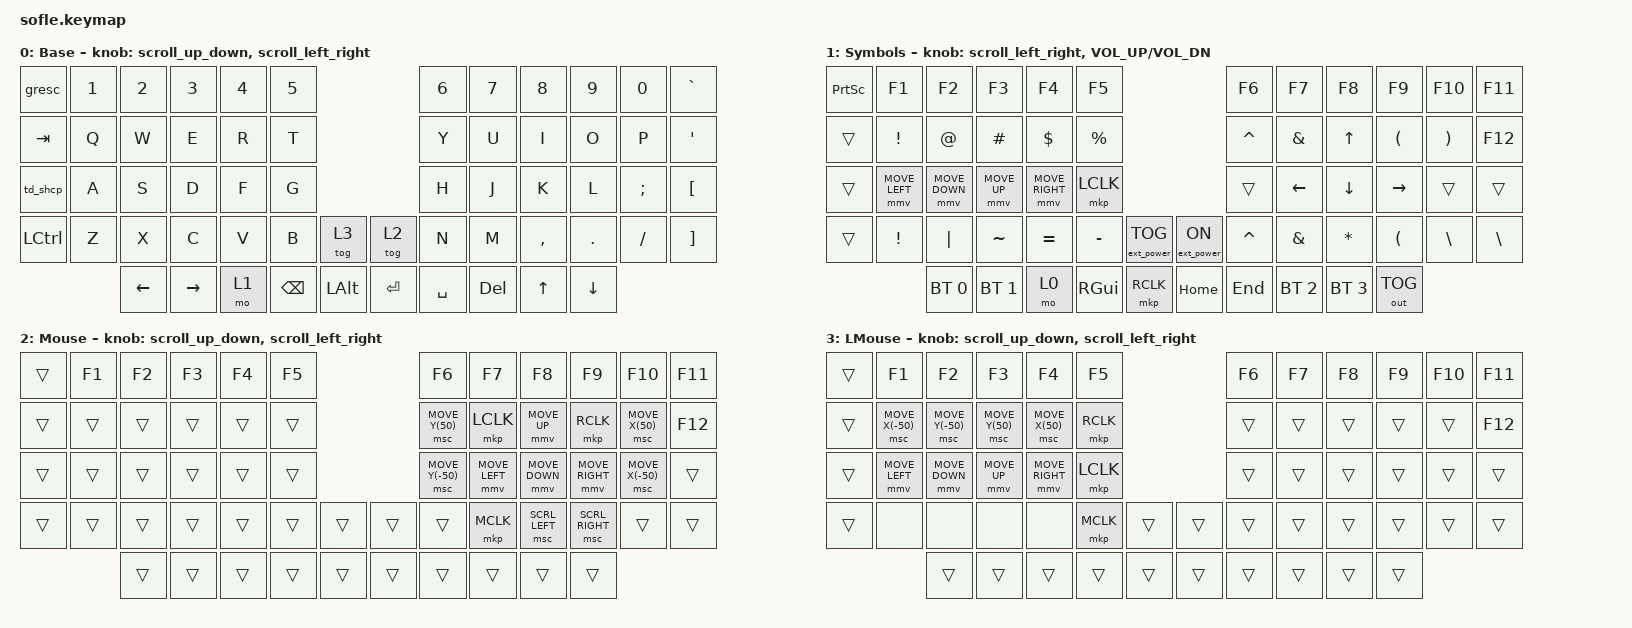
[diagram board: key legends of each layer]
/*
 * Copyright (c) 2020 The ZMK Contributors
 *
 * SPDX-License-Identifier: MIT
 */
/*
 * Temporarily here because nice nano v2 spi is not defined on ZMK Yet
 * Source: https://github.com/zmkfirmware/zmk/blob/main/app/boards/shields/reviung41/boards/nice_nano.overlay
 * GitHub Issue: https://github.com/zmkfirmware/zmk/issues/885
 */

#define ZMK_POINTING_DEFAULT_MOVE_VAL 800  // default: 600
#define ZMK_POINTING_DEFAULT_SCRL_VAL 1200
#define DISPLAY_INIT_PRIORITY 95
#define ZMK_MOUSE_SCRL_VAL 100

#include <dt-bindings/zmk/mouse.h>
#include <behaviors.dtsi>
#include <dt-bindings/zmk/bt.h>
#include <dt-bindings/zmk/ext_power.h>
#include <dt-bindings/zmk/keys.h>
#include <dt-bindings/zmk/outputs.h>
#include <dt-bindings/zmk/pointing.h>

// Temporary comment out to test power consumption
// &pinctrl {
//     spi3_default: spi3_default {
//         group1 { psels = <NRF_PSEL(SPIM_MOSI, 0, 6)>; };
//     };
//     spi3_sleep: spi3_sleep {
//         group1 {
//             psels = <NRF_PSEL(SPIM_MOSI, 0, 6)>;
//             low-power-enable;
//         };
//     };
// };

&msc {
    x-input-code = <INPUT_REL_HWHEEL>;
    y-input-code = <INPUT_REL_WHEEL>;
    time-to-max-speed-ms = <200>;
    acceleration-exponent = <1>;
};

/ {
    behaviors {
        scroll_up_down: behavior_sensor_rotate_mouse_wheel_up_down {
            compatible = "zmk,behavior-sensor-rotate";
            #sensor-binding-cells = <0>;
            bindings = <&msc SCRL_DOWN>, <&msc SCRL_UP>;

            tap-ms = <20>;
        };

        scroll_left_right: behavior_sensor_rotate_mouse_wheel_left_right {
            compatible = "zmk,behavior-sensor-rotate";
            #sensor-binding-cells = <0>;
            bindings = <&msc SCRL_RIGHT>, <&msc SCRL_LEFT>;

            tap-ms = <20>;
        };

        td_shcp: tap_dance_shift_caps {
            compatible = "zmk,behavior-tap-dance";
            #binding-cells = <0>;

            //tapping-term-ms = <200>;

            bindings = <&kp LSHIFT>, <&caps_word>;
        };
    };

    combos {
        compatible = "zmk,combos";

        ToggleNavi1 {
            bindings = <&tog 2>;
            key-positions = <52 57>;
        };

        ToggleNavi {
            bindings = <&tog 2>;
            key-positions = <48 49>;
        };

        Bluetooth-Reparing {
            bindings = <&bt BT_CLR>;
            key-positions = <42 43>;
            layers = <1>;
        };
    };

    keymap {
        compatible = "zmk,keymap";

        default_layer {
            display-name = "Base";

            // -----------------------------------------------------------------------------------------------------------
            // |Gr ESC |  1  |  2  |  3   |  4   |  5   |                   |  6   |  7    |  8    |  9   |   0   | GRAVE |
            // |  TAB  |  Q  |  W  |  E   |  R   |  T   |                   |  Y   |  U    |  I    |  O   |   P   |   '   |
            // |TdSHIFT|  A  |  S  |  D   |  F   |  G   |________    _______|  H   |  J    |  K    |  L   |   ;   |   [   |
            // | CTRL  |  Z  |  X  |  C   |  V   |  B   |  MUTE  |  |Tog Nav|  N   |  M    |  ,    |  .   |   /   |   ]   |
            //               | LEFT| RIGHT| LOWER| BSCP |  L ALT |  | ENTER | SPACE|  DEL  |  UP   | DOWN |
            // -----------------------------------------------------------------------------------------------------------

            bindings = <
&gresc     &kp N1  &kp N2    &kp N3     &kp N4  &kp N5                               &kp N6     &kp N7   &kp N8     &kp N9    &kp N0    &kp GRAVE
&kp TAB    &kp Q   &kp W     &kp E      &kp R   &kp T                                &kp Y      &kp U    &kp I      &kp O     &kp P     &kp SQT
&td_shcp   &kp A   &kp S     &kp D      &kp F   &kp G                                &kp H      &kp J    &kp K      &kp L     &kp SEMI  &kp LBKT
&kp LCTRL  &kp Z   &kp X     &kp C      &kp V   &kp B     &tog 3          &tog 2     &kp N      &kp M    &kp COMMA  &kp DOT   &kp FSLH  &kp RBKT
                   &kp LEFT  &kp RIGHT  &mo 1   &kp BSPC  &kp LEFT_ALT    &kp ENTER  &kp SPACE  &kp DEL  &kp UP     &kp DOWN
            >;

            sensor-bindings = <&scroll_up_down>, <&scroll_left_right>;
        };

        lower_layer {
            display-name = "Symbols";

            // ------------------------------------------------------------------------------------------------------------
            // | Print |  F1 |  F2  |  F3  |  F4  |  F5  |                   |  F6  |  F7   |  F8   |  F9  |  F10  |  F11  |
            // |       |  !  |  @   |  #   |  $   |  %   |                   |  ^   |  &    |  UP   |  (   |   )   |  F12  |
            // |       |MLEFT|MDOWN | MVUP |MRIGHT|LCLICK|________    _______| PGDN |  LEFT |  DOWN |RIGHT |       |       |
            // |       |  !  | PIPE |  ~   |  =   |  -   |ExtPower|  |       |  ^   |   &   |   *   |  (   |   \   |       |
            //               |BLT 0 |BLT 1 |      |      |        |  |       |      |       |       |      |
            // ------------------------------------------------------------------------------------------------------------

            bindings = <
&kp PSCRN  &kp F1          &kp F2          &kp F3        &kp F4           &kp F5                                            &kp F6     &kp F7        &kp F8        &kp F9        &kp F10        &kp F11
&trans     &kp EXCL        &kp AT          &kp HASH      &kp DLLR         &kp PRCNT                                         &kp CARET  &kp AMPS      &kp UP        &kp LPAR      &kp RPAR       &kp F12
&trans     &mmv MOVE_LEFT  &mmv MOVE_DOWN  &mmv MOVE_UP  &mmv MOVE_RIGHT  &mkp LCLK                                         &trans     &kp LEFT      &kp DOWN      &kp RIGHT     &trans         &trans
&trans     &kp EXCL        &kp PIPE        &kp TILDE     &kp EQUAL        &kp MINUS  &ext_power EP_TOG    &ext_power EP_ON  &kp CARET  &kp AMPS      &kp STAR      &kp LPAR      &kp BACKSLASH  &kp BACKSLASH
                           &bt BT_SEL 0    &bt BT_SEL 1  &mo 0            &kp RGUI   &mkp RCLK            &kp HOME          &kp END    &bt BT_SEL 2  &bt BT_SEL 3  &out OUT_TOG
            >;

            sensor-bindings =
                <&scroll_left_right>,
                <&inc_dec_kp C_VOL_UP C_VOL_DN>;
        };

        high_layer {
            display-name = "Mouse";

            // --------------------------------------------------------------------------------------------------------------------
            // |     |  F1  |  F2  |  F3  |  F4  |  F5  |                       |    F6     |     F7    |      F8     |     F9     |    F10    |  F11  |
            // |     |      |      |      |      |      |                       | SCRL_UP   | LCLK      |  MOVE_UP    | RCLK       | SCRL_UP   |  F12  |
            // |     |      |      |      |      |      |_______         _______| SCRL_DOWN | MOVE_LEFT |  MOVE_DOWN  | MOVE_RIGHT | SCRL_DOWN |       |
            // |     |      |      |      |      |      |       |       |       | MCLK      | SCRL_LEFT |  SCRL_RIGHT |            |           |
            //              |      |      |      |      |       |       |       |           |           |             |            |
            // --------------------------------------------------------------------------------------------------------------------

            bindings = <
&trans  &kp F1  &kp F2  &kp F3  &kp F4  &kp F5                    &kp F6            &kp F7          &kp F8          &kp F9           &kp F10           &kp F11
&trans  &trans  &trans  &trans  &trans  &trans                    &msc MOVE_Y(50)   &mkp LCLK       &mmv MOVE_UP    &mkp RCLK        &msc MOVE_X(50)   &kp F12
&trans  &trans  &trans  &trans  &trans  &trans                    &msc MOVE_Y(-50)  &mmv MOVE_LEFT  &mmv MOVE_DOWN  &mmv MOVE_RIGHT  &msc MOVE_X(-50)  &trans
&trans  &trans  &trans  &trans  &trans  &trans  &trans    &trans  &trans            &mkp MCLK       &msc SCRL_LEFT  &msc SCRL_RIGHT  &trans            &trans
                &trans  &trans  &trans  &trans  &trans    &trans  &trans            &trans          &trans          &trans
            >;

            sensor-bindings = <&scroll_up_down>, <&scroll_left_right>;
        };

        mouse_left {
            display-name = "LMouse";

            // -----------------------------------------------------------------------------------------------------------------------------
            // |     |  F1  |  F2  |  F3         |  F4       |  F5  |                    |  F6   |  F7   |  F8   |  F9   |  F10    |  F11   |
            // |     |      | RCLK | MOVE_Y(50)  | LCLK      |      |                    |       |       |       |       |         |  F12   |
            // |     |MOVE_L|MOVE_D| MOVE_UP     |MOVE_RIGHT | LCLK |_______      _______|       |       |       |       |         |        |
            // |     |      |      | MOVE_Y(-50) |           |      |       |    |       |       |       |       |       |         |
            //              |      |      |      |           |      |       |    |       |       |       |       |
            // -----------------------------------------------------------------------------------------------------------------------------

            bindings = <
&trans  &kp F1            &kp F2            &kp F3           &kp F4           &kp F5                       &kp F6  &kp F7  &kp F8  &kp F9  &kp F10  &kp F11
&trans  &msc MOVE_X(-50)  &msc MOVE_Y(-50)  &msc MOVE_Y(50)  &msc MOVE_X(50)  &mkp RCLK                    &trans  &trans  &trans  &trans  &trans   &kp F12
&trans  &mmv MOVE_LEFT    &mmv MOVE_DOWN    &mmv MOVE_UP     &mmv MOVE_RIGHT  &mkp LCLK                    &trans  &trans  &trans  &trans  &trans   &trans
&trans  &none             &none             &none            &none            &mkp MCLK  &trans    &trans  &trans  &trans  &trans  &trans  &trans   &trans
                          &trans            &trans           &trans           &trans     &trans    &trans  &trans  &trans  &trans  &trans
            >;

            sensor-bindings = <&scroll_up_down>, <&scroll_left_right>;
        };
    };
};
